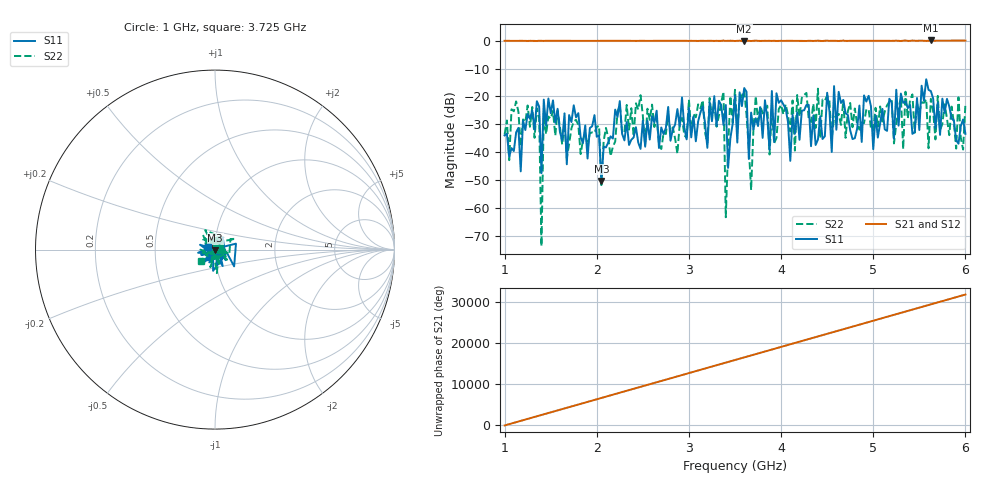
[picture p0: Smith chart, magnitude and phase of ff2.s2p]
!Keysight Technologies,E5080A,MY55100170,A.11.70.00
!Date: Tuesday, August 20, 2019 22:47:41
!Correction: S11(Full 2 Port(1,2))
!S21(Full 2 Port(1,2))
!S12(Full 2 Port(1,2))
!S22(Full 2 Port(1,2))
!S2P File: Measurements: S11, S21, S12, S22:
# Hz S  dB  R 50
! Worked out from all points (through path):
!   201 points, 1 GHz to 6 GHz, reference 50 ohm
!   highest |S21| = 0.11 dB at 5.625 GHz (marker M1); lowest = -0.2 dB at 3.6 GHz (marker M2)
!   lowest |S11| = -50.3 dB at 2.05 GHz (marker M3), VSWR 1.01, Z = 50.1 - j0.282 ohm
!   |S11| at or under -10 dB: start of sweep to end of sweep
!   |S22| runs from -73.7 to -17.2 dB; largest |S21 - S12| = 0.011
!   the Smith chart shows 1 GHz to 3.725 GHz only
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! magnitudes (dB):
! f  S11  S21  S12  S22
! 1 GHz  -34.0  0.0  0.0  -33.6
! 1.35 GHz  -21.7  -0.1  -0.1  -24.3
! 1.375 GHz  -23.7  0.0  0.0  -27.8
! 1.4 GHz  -47.5  0.0  0.0  -73.7
! 1.425 GHz  -21.1  -0.1  -0.1  -25.9
! 1.85 GHz  -36.7  0.0  0.0  -35.7
! 2.05 GHz  -50.3  0.0  0.0  -51.8
! 2.25 GHz  -21.7  0.0  -0.1  -23.0
! 2.675 GHz  -38.5  0.0  0.0  -36.9
! 3.375 GHz  -30.2  0.1  0.0  -18.3
! 3.4 GHz  -23.1  0.0  0.0  -63.4
! 3.425 GHz  -45.6  0.0  0.0  -38.6
! 3.5 GHz  -19.6  -0.1  -0.1  -17.6
! 3.6 GHz  -17.0  -0.2  -0.1  -17.9
! 3.675 GHz  -25.8  -0.1  -0.1  -53.6
! 3.725 GHz  -27.8  0.1  0.0  -19.9
! 3.875 GHz  -39.1  0.0  0.0  -40.9
! 3.9 GHz  -18.0  0.0  0.0  -24.5
! 4.35 GHz  -26.8  -0.1  0.0  -22.6
! 5.175 GHz  -20.8  0.0  0.0  -21.9
! 5.625 GHz  -18.1  0.1  0.1  -20.8
! 6 GHz  -33.4  0.1  0.1  -22.9
